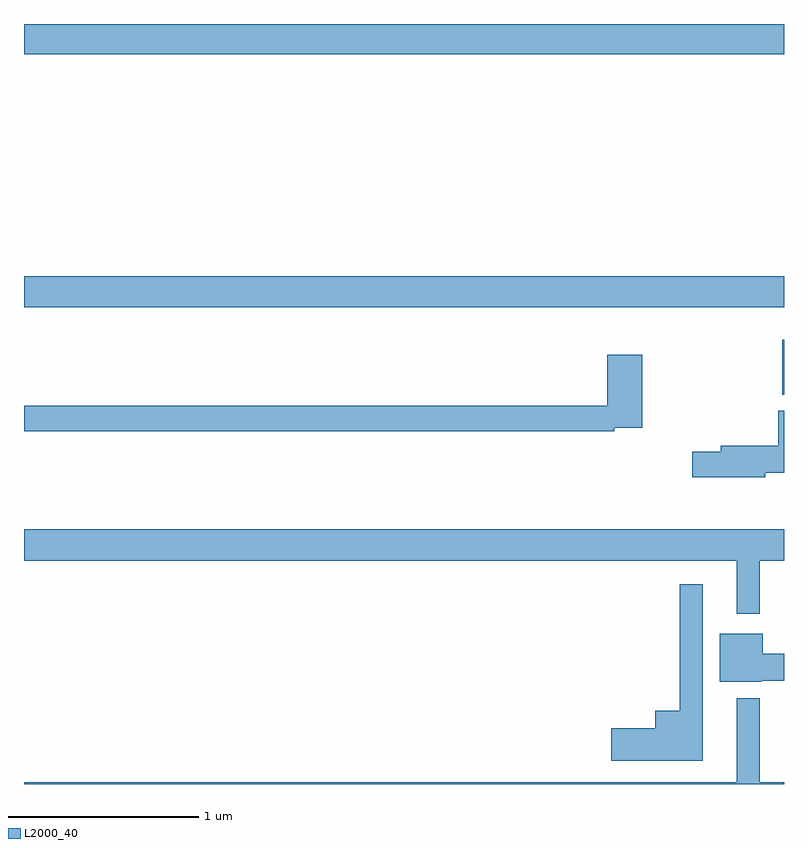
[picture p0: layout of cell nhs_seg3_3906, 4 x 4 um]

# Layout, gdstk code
import gdstk
lib = gdstk.Library(unit=1e-6, precision=1e-09)
def R(c, l, rs):  # rectangles x0, y0, x1, y1
    for r in rs: c.add(gdstk.rectangle(r[:2], r[2:], *l))
def P(c, l, *ps):  # polygons
    for p in ps: c.add(gdstk.Polygon(p, *l))
L2000_40 = (2000, 40)

nhs_seg3_3906 = lib.new_cell('nhs_seg3_3906')
R(nhs_seg3_3906, L2000_40, [(316.991,708.449,317,708.739), (313,708.908,317,709.072), (313,710.24,317,710.4)])
P(nhs_seg3_3906, L2000_40, [(316.106,708.276),(316.253,708.276),(316.253,708.658),(316.07,708.658),(316.07,708.392),(313,708.392),(313,708.256),(316.106,708.256)],
  [(316.902,708.038),(317,708.038),(317,708.364),(316.97,708.364),(316.97,708.179),(316.667,708.179),(316.667,708.149),(316.518,708.149),(316.518,708.014),(316.902,708.014)],
  [(316.873,707.576),(317,707.576),(317,707.74),(313,707.74),(313,707.576),(316.751,707.576),(316.751,707.295),(316.873,707.295)],
  [(316.573,707.452),(316.452,707.452),(316.452,706.786),(316.322,706.786),(316.322,706.694),(316.092,706.694),(316.092,706.523),(316.573,706.523)],
  [(316.884,706.943),(317,706.943),(317,707.085),(316.888,707.085),(316.888,707.191),(316.661,707.191),(316.661,706.937),(316.884,706.937)],
  [(317,706.408),(316.873,706.408),(316.873,706.852),(316.751,706.852),(316.751,706.408),(313,706.408),(313,706.4),(317,706.4)])

lib.write_gds('nhs_seg3_3906.gds')
